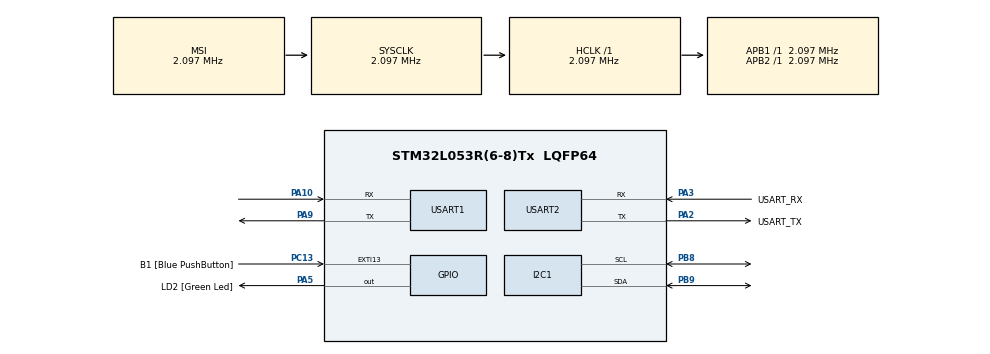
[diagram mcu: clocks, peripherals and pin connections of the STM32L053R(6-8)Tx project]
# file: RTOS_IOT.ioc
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FREERTOS.Tasks01=defaultTask,0,128,StartDefaultTask,Default,NULL
Mcu.Family=STM32L0
Mcu.Name=STM32L053R(6-8)Tx
Mcu.Package=LQFP64
PA10.Mode=IrDA
PA10.Signal=USART1_RX
PA13.GPIO_Label=TMS
PA13.Signal=SYS_SWDIO
PA14.GPIO_Label=TCK
PA14.Signal=SYS_SWCLK
PA2.GPIO_Label=USART_TX
PA2.Mode=Asynchronous
PA2.Signal=USART2_TX
PA3.GPIO_Label=USART_RX
PA3.Mode=Asynchronous
PA3.Signal=USART2_RX
PA5.GPIO_Label=LD2 [Green Led]
PA5.Signal=GPIO_Output
PA9.Mode=IrDA
PA9.Signal=USART1_TX
PB8.Mode=I2C
PB8.Signal=I2C1_SCL
PB9.Mode=I2C
PB9.Signal=I2C1_SDA
PC13.GPIO_Label=B1 [Blue PushButton]
PC13.GPIO_ModeDefaultEXTI=GPIO_MODE_IT_FALLING
PC13.Signal=GPXTI13
PC14-OSC32_IN.Signal=RCC_OSC32_IN
PC15-OSC32_OUT.Signal=RCC_OSC32_OUT
PH0-OSC_IN.Signal=RCC_OSC_IN
PH1-OSC_OUT.Signal=RCC_OSC_OUT
ProjectManager.HeapSize=0x200
ProjectManager.StackSize=0x400
ProjectManager.TargetToolchain=SW4STM32
RCC.AHBFreq_Value=2097000
RCC.APB1Freq_Value=2097000
RCC.APB1TimFreq_Value=2097000
RCC.APB2Freq_Value=2097000
RCC.APB2TimFreq_Value=2097000
RCC.HSE_VALUE=8000000
RCC.HSI16_VALUE=16000000
RCC.HSI48_VALUE=48000000
RCC.HSI_VALUE=16000000
RCC.LSEState=RCC_LSE_ON
RCC.LSE_VALUE=32768
RCC.MSI_VALUE=2097000
RCC.SYSCLKFreq_VALUE=2097000
RCC.VCOOutputFreq_Value=48000000
USART1.VirtualMode-IrDA=VM_IRDA
USART2.VirtualMode-Asynchronous=VM_ASYNC
USART2.WordLength=WORDLENGTH_8B
VP_FREERTOS_VS_ENABLE.Mode=Enabled
VP_RTC_VS_RTC_Activate.Mode=RTC_Enabled
VP_RTC_VS_RTC_Calendar.Mode=RTC_Calendar
board=NUCLEO-L053R8

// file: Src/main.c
/**
  ******************************************************************************
  * File Name          : main.c
  * Description        : Main program body
  ******************************************************************************
  * This notice applies to any and all portions of this file
  * that are not between comment pairs USER CODE BEGIN and
  * USER CODE END. Other portions of this file, whether
  * inserted by the user or by software development tools
  * are owned by their respective copyright owners.
  *
  * Copyright (c) 2017 STMicroelectronics International N.V.
  * All rights reserved.
  *
  * Redistribution and use in source and binary forms, with or without
  * modification, are permitted, provided that the following conditions are met:
  *
  * 1. Redistribution of source code must retain the above copyright notice,
  *    this list of conditions and the following disclaimer.
  * 2. Redistributions in binary form must reproduce the above copyright notice,
  *    this list of conditions and the following disclaimer in the documentation
  *    and/or other materials provided with the distribution.
  * 3. Neither the name of STMicroelectronics nor the names of other
  *    contributors to this software may be used to endorse or promote products
  *    derived from this software without specific written permission.
  * 4. This software, including modifications and/or derivative works of this
  *    software, must execute solely and exclusively on microcontroller or
  *    microprocessor devices manufactured by or for STMicroelectronics.
  * 5. Redistribution and use of this software other than as permitted under
  *    this license is void and will automatically terminate your rights under
  *    this license.
  *
  * THIS SOFTWARE IS PROVIDED BY STMICROELECTRONICS AND CONTRIBUTORS "AS IS"
  * AND ANY EXPRESS, IMPLIED OR STATUTORY WARRANTIES, INCLUDING, BUT NOT
  * LIMITED TO, THE IMPLIED WARRANTIES OF MERCHANTABILITY, FITNESS FOR A
  * PARTICULAR PURPOSE AND NON-INFRINGEMENT OF THIRD PARTY INTELLECTUAL PROPERTY
  * RIGHTS ARE DISCLAIMED TO THE FULLEST EXTENT PERMITTED BY LAW. IN NO EVENT
  * SHALL STMICROELECTRONICS OR CONTRIBUTORS BE LIABLE FOR ANY DIRECT, INDIRECT,
  * INCIDENTAL, SPECIAL, EXEMPLARY, OR CONSEQUENTIAL DAMAGES (INCLUDING, BUT NOT
  * LIMITED TO, PROCUREMENT OF SUBSTITUTE GOODS OR SERVICES; LOSS OF USE, DATA,
  * OR PROFITS; OR BUSINESS INTERRUPTION) HOWEVER CAUSED AND ON ANY THEORY OF
  * LIABILITY, WHETHER IN CONTRACT, STRICT LIABILITY, OR TORT (INCLUDING
  * NEGLIGENCE OR OTHERWISE) ARISING IN ANY WAY OUT OF THE USE OF THIS SOFTWARE,
  * EVEN IF ADVISED OF THE POSSIBILITY OF SUCH DAMAGE.
  *
  ******************************************************************************
  */
#include "main.h"
#include "stm32l0xx_hal.h"
#include "cmsis_os.h"

/* USER CODE BEGIN Includes */
#include "global.h"
#include "sensor.h"
#include "transmit.h"
#include "data.h"
#include "debug_led.h"
#include "ResetFunction.h"

/* USER CODE END Includes */

I2C_HandleTypeDef hi2c1;

RTC_HandleTypeDef hrtc;

IRDA_HandleTypeDef hirda1;
UART_HandleTypeDef huart2;

osThreadId defaultTaskHandle;

GPIO_InitTypeDef GPIO_InitStruct;

/* USER CODE BEGIN PV */
/* Private variables ---------------------------------------------------------*/
osThreadId Task1Handle;
osThreadId Task2Handle;
osThreadId Task3Handle;

/* Create the queue */
#define QUEUE_SIZE (10)

/* Define a queue with “QUEUE_SIZE” items of 2 bytes */
osMailQDef(dataWritequeue, QUEUE_SIZE, TSensorRecord);                    // Define mail queue
osMailQId  dataWritequeue;

//osMessageQDef(dataWritequeue, QUEUE_SIZE, TSensorRecord);
//osMessageQId dataWriteQueue;// = osMessageCreate(osMessageQ(dataWritequeue), NULL);

/* Define a queue with “QUEUE_SIZE” items of 2 bytes */
osMailQDef(dataReadqueue, QUEUE_SIZE, TSensorRecord);                    // Define mail queue
osMailQId  dataReadqueue;
//osMessageQDef(dataReadqueue, QUEUE_SIZE, TSensorRecord);
//osMessageQId dataReadQueue;//= osMessageCreate(osMessageQ(dataReadqueue), NULL);

/* Define a queue with “QUEUE_SIZE” items of 2 bytes */
osMessageQDef(dataEventqueue, QUEUE_SIZE, uint8_t);
osMessageQId dataEventqueue;// = osMessageCreate(osMessageQ(dataEventqueue), NULL);

osMessageQDef(ReadEventCompleteQueue, QUEUE_SIZE, uint8_t);
osMessageQId ReadEventCompleteQueue;// = osMessageCreate(osMessageQ(dataEventqueue), NULL);
/* USER CODE END PV */

void SystemClock_Config(void);
static void MX_GPIO_Init(void);
static void MX_RTC_Init(void);
static void MX_USART2_UART_Init(void);
static void MX_USART1_IRDA_Init(void);
static void MX_I2C1_Init(void);
void StartDefaultTask(void const * argument);

/* USER CODE BEGIN PFP */
/* Private function prototypes -----------------------------------------------*/
void DBTask(void const * argument);

/* USER CODE END PFP */

int main(void)
{

  /* MCU Configuration----------------------------------------------------------*/

  /* Reset of all peripherals, Initializes the Flash interface and the Systick. */
  HAL_Init();

  /* Configure the system clock */
  SystemClock_Config();

  /* Initialize all configured peripherals */
  MX_GPIO_Init();
  MX_RTC_Init();
  MX_USART2_UART_Init();
  MX_USART1_IRDA_Init();
  MX_I2C1_Init();

  /* Configure Event interrupt*/
  NVIC_EnableIRQ(EXTI4_15_IRQn);
  NVIC_SetPriority(EXTI4_15_IRQn,0);

  /* USER CODE BEGIN 2 */
  //osMessageQId dataWriteQueue = osMessageCreate(osMessageQ(dataWritequeue), NULL);
  //osMessageQId dataReadQueue = osMessageCreate(osMessageQ(dataReadqueue), NULL);
  dataWritequeue = osMailCreate(osMailQ(dataWritequeue), NULL);
  dataReadqueue = osMailCreate(osMailQ(dataReadqueue), NULL);
  dataEventqueue = osMessageCreate(osMessageQ(dataEventqueue), NULL);
  ReadEventCompleteQueue = osMessageCreate(osMessageQ(ReadEventCompleteQueue), NULL);

  //perform clear all
//  osMessagePut(dataEventqueue, eDBAction_ClearAll, osWaitForever);

  /* USER CODE END 2 */

  /* Create the thread(s) */
  /* definition and creation of defaultTask */
  //osThreadDef(defaultTask, StartDefaultTask, osPriorityNormal, 0, 128);
  //defaultTaskHandle = osThreadCreate(osThread(defaultTask), NULL);

  /* USER CODE BEGIN RTOS_THREADS */
  /* add threads, ... */
  HAL_UART_Transmit(&huart2,(uint8_t *)"HELLO WORLD",sizeof("HELLO WORLD"),200);

  GPIO_InitStruct.Pin = LD2_Pin;
  GPIO_InitStruct.Mode = GPIO_MODE_OUTPUT_PP;
  GPIO_InitStruct.Pull = GPIO_NOPULL;
  GPIO_InitStruct.Speed = GPIO_SPEED_FREQ_LOW;

  HeartBeat_LED_Init(LD2_GPIO_Port, &GPIO_InitStruct);

//  osThreadDef(Task1, SensorTask, osPriorityRealtime, 0, 128);
  osThreadDef(Task1, SensorTask, osPriorityAboveNormal, 0, 128);
  Task1Handle = osThreadCreate(osThread(Task1), NULL);
  osThreadDef(Task2, DBTask, osPriorityNormal, 0, 128);
  Task2Handle = osThreadCreate(osThread(Task2), NULL);
  osThreadDef(Task3, TransmitTask, osPriorityNormal, 0, (128*2));
  Task3Handle = osThreadCreate(osThread(Task3), NULL);

  ResetTaskInit();

  /* USER CODE END RTOS_THREADS */

  /* Start scheduler */
  osKernelStart();

  /* We should never get here as control is now taken by the scheduler */

  /* Infinite loop */
  while (1)
  {

  }

}

/** System Clock Configuration
*/
void SystemClock_Config(void)
{

  RCC_OscInitTypeDef RCC_OscInitStruct;
  RCC_ClkInitTypeDef RCC_ClkInitStruct;
  RCC_PeriphCLKInitTypeDef PeriphClkInit;

    /**Configure the main internal regulator output voltage
    */
  __HAL_PWR_VOLTAGESCALING_CONFIG(PWR_REGULATOR_VOLTAGE_SCALE1);

    /**Initializes the CPU, AHB and APB busses clocks
    */
  RCC_OscInitStruct.OscillatorType = RCC_OSCILLATORTYPE_LSI|RCC_OSCILLATORTYPE_MSI;
  RCC_OscInitStruct.LSIState = RCC_LSI_ON;
  RCC_OscInitStruct.MSIState = RCC_MSI_ON;
  RCC_OscInitStruct.MSICalibrationValue = 0;
  RCC_OscInitStruct.MSIClockRange = RCC_MSIRANGE_5;
  RCC_OscInitStruct.PLL.PLLState = RCC_PLL_NONE;
  if (HAL_RCC_OscConfig(&RCC_OscInitStruct) != HAL_OK)
  {
    _Error_Handler(__FILE__, __LINE__);
  }

    /**Initializes the CPU, AHB and APB busses clocks
    */
  RCC_ClkInitStruct.ClockType = RCC_CLOCKTYPE_HCLK|RCC_CLOCKTYPE_SYSCLK
                              |RCC_CLOCKTYPE_PCLK1|RCC_CLOCKTYPE_PCLK2;
  RCC_ClkInitStruct.SYSCLKSource = RCC_SYSCLKSOURCE_MSI;
  RCC_ClkInitStruct.AHBCLKDivider = RCC_SYSCLK_DIV1;
  RCC_ClkInitStruct.APB1CLKDivider = RCC_HCLK_DIV1;
  RCC_ClkInitStruct.APB2CLKDivider = RCC_HCLK_DIV1;

  if (HAL_RCC_ClockConfig(&RCC_ClkInitStruct, FLASH_LATENCY_0) != HAL_OK)
  {
    _Error_Handler(__FILE__, __LINE__);
  }

  PeriphClkInit.PeriphClockSelection = RCC_PERIPHCLK_USART1|RCC_PERIPHCLK_USART2
                              |RCC_PERIPHCLK_I2C1|RCC_PERIPHCLK_RTC;
  PeriphClkInit.Usart1ClockSelection = RCC_USART1CLKSOURCE_PCLK2;
  PeriphClkInit.Usart2ClockSelection = RCC_USART2CLKSOURCE_PCLK1;
  PeriphClkInit.I2c1ClockSelection = RCC_I2C1CLKSOURCE_PCLK1;
  PeriphClkInit.RTCClockSelection = RCC_RTCCLKSOURCE_LSI;
  if (HAL_RCCEx_PeriphCLKConfig(&PeriphClkInit) != HAL_OK)
  {
    _Error_Handler(__FILE__, __LINE__);
  }

    /**Configure the Systick interrupt time
    */
  HAL_SYSTICK_Config(HAL_RCC_GetHCLKFreq()/1000);

    /**Configure the Systick
    */
  HAL_SYSTICK_CLKSourceConfig(SYSTICK_CLKSOURCE_HCLK);

  /* SysTick_IRQn interrupt configuration */
  HAL_NVIC_SetPriority(SysTick_IRQn, 3, 0);
}

/* I2C1 init function */
static void MX_I2C1_Init(void)
{

  hi2c1.Instance = I2C1;
  hi2c1.Init.Timing = 0x00000708;
  hi2c1.Init.OwnAddress1 = 0;
  hi2c1.Init.AddressingMode = I2C_ADDRESSINGMODE_7BIT;
  hi2c1.Init.DualAddressMode = I2C_DUALADDRESS_DISABLE;
  hi2c1.Init.OwnAddress2 = 0;
  hi2c1.Init.OwnAddress2Masks = I2C_OA2_NOMASK;
  hi2c1.Init.GeneralCallMode = I2C_GENERALCALL_DISABLE;
  hi2c1.Init.NoStretchMode = I2C_NOSTRETCH_DISABLE;
  if (HAL_I2C_Init(&hi2c1) != HAL_OK)
  {
    _Error_Handler(__FILE__, __LINE__);
  }

    /**Configure Analogue filter
    */
  if (HAL_I2CEx_ConfigAnalogFilter(&hi2c1, I2C_ANALOGFILTER_ENABLE) != HAL_OK)
  {
    _Error_Handler(__FILE__, __LINE__);
  }

    /**Configure Digital filter
    */
  if (HAL_I2CEx_ConfigDigitalFilter(&hi2c1, 0) != HAL_OK)
  {
    _Error_Handler(__FILE__, __LINE__);
  }

}

/* RTC init function */
static void MX_RTC_Init(void)
{

  RTC_TimeTypeDef sTime;
  RTC_DateTypeDef sDate;

    /**Initialize RTC Only
    */
  hrtc.Instance = RTC;
  hrtc.Init.HourFormat = RTC_HOURFORMAT_24;
  hrtc.Init.AsynchPrediv = 127;
  hrtc.Init.SynchPrediv = 255;
  hrtc.Init.OutPut = RTC_OUTPUT_DISABLE;
  hrtc.Init.OutPutRemap = RTC_OUTPUT_REMAP_NONE;
  hrtc.Init.OutPutPolarity = RTC_OUTPUT_POLARITY_HIGH;
  hrtc.Init.OutPutType = RTC_OUTPUT_TYPE_OPENDRAIN;
  if (HAL_RTC_Init(&hrtc) != HAL_OK)
  {
    _Error_Handler(__FILE__, __LINE__);
  }

    /**Initialize RTC and set the Time and Date
    */
  if(HAL_RTCEx_BKUPRead(&hrtc, RTC_BKP_DR0) != 0x32F2){
  sTime.Hours = 0x0;
  sTime.Minutes = 0x0;
  sTime.Seconds = 0x0;
  sTime.DayLightSaving = RTC_DAYLIGHTSAVING_NONE;
  sTime.StoreOperation = RTC_STOREOPERATION_RESET;
  if (HAL_RTC_SetTime(&hrtc, &sTime, RTC_FORMAT_BCD) != HAL_OK)
  {
    _Error_Handler(__FILE__, __LINE__);
  }

  sDate.WeekDay = RTC_WEEKDAY_MONDAY;
  sDate.Month = RTC_MONTH_JANUARY;
  sDate.Date = 0x1;
  sDate.Year = 0x0;

  if (HAL_RTC_SetDate(&hrtc, &sDate, RTC_FORMAT_BCD) != HAL_OK)
  {
    _Error_Handler(__FILE__, __LINE__);
  }

    HAL_RTCEx_BKUPWrite(&hrtc,RTC_BKP_DR0,0x32F2);
  }

}

/* USART1 init function */
static void MX_USART1_IRDA_Init(void)
{

  hirda1.Instance = USART1;
  hirda1.Init.BaudRate = 115200;
  hirda1.Init.WordLength = IRDA_WORDLENGTH_7B;
  hirda1.Init.Parity = IRDA_PARITY_NONE;
  hirda1.Init.Mode = IRDA_MODE_TX_RX;
  hirda1.Init.Prescaler = 10;
  hirda1.Init.PowerMode = IRDA_POWERMODE_NORMAL;
  if (HAL_IRDA_Init(&hirda1) != HAL_OK)
  {
    _Error_Handler(__FILE__, __LINE__);
  }

}

/* USART2 init function */
static void MX_USART2_UART_Init(void)
{

  huart2.Instance = USART2;
  huart2.Init.BaudRate = 115200;
  huart2.Init.WordLength = UART_WORDLENGTH_8B;
  huart2.Init.StopBits = UART_STOPBITS_1;
  huart2.Init.Parity = UART_PARITY_NONE;
  huart2.Init.Mode = UART_MODE_TX_RX;
  huart2.Init.HwFlowCtl = UART_HWCONTROL_NONE;
  huart2.Init.OverSampling = UART_OVERSAMPLING_16;
  huart2.Init.OneBitSampling = UART_ONE_BIT_SAMPLE_DISABLE;
  huart2.AdvancedInit.AdvFeatureInit = UART_ADVFEATURE_NO_INIT;
  if (HAL_UART_Init(&huart2) != HAL_OK)
  {
    _Error_Handler(__FILE__, __LINE__);
  }

}

/** Configure pins as
        * Analog
        * Input
        * Output
        * EVENT_OUT
        * EXTI
*/
static void MX_GPIO_Init(void)
{

  GPIO_InitTypeDef GPIO_InitStruct;

  /* GPIO Ports Clock Enable */
  __HAL_RCC_GPIOC_CLK_ENABLE();
  __HAL_RCC_GPIOH_CLK_ENABLE();
  __HAL_RCC_GPIOA_CLK_ENABLE();
  __HAL_RCC_GPIOB_CLK_ENABLE();

  /*Configure GPIO pin Output Level */
  HAL_GPIO_WritePin(LD2_GPIO_Port, LD2_Pin, GPIO_PIN_RESET);

  /*Configure GPIO pin : B1_Pin */
  GPIO_InitStruct.Pin = B1_Pin;
  GPIO_InitStruct.Mode = GPIO_MODE_IT_RISING_FALLING;
  GPIO_InitStruct.Pull = GPIO_NOPULL;
  HAL_GPIO_Init(B1_GPIO_Port, &GPIO_InitStruct);

  /*Configure GPIO pin : LD2_Pin */
  GPIO_InitStruct.Pin = LD2_Pin;
  GPIO_InitStruct.Mode = GPIO_MODE_OUTPUT_PP;
  GPIO_InitStruct.Pull = GPIO_NOPULL;
  GPIO_InitStruct.Speed = GPIO_SPEED_FREQ_LOW;
  HAL_GPIO_Init(LD2_GPIO_Port, &GPIO_InitStruct);

}

/* USER CODE BEGIN 4 */
void Delay(void)
{
	volatile uint32_t delay=0x100000;
	while(delay--);
}

/* USER CODE END 4 */

/* StartDefaultTask function */
void StartDefaultTask(void const * argument)
{

  /* USER CODE BEGIN 5 */
  /* Infinite loop */
  for(;;)
  {
	HAL_GPIO_WritePin(LD2_GPIO_Port, LD2_Pin, GPIO_PIN_RESET);
	HAL_GPIO_WritePin(LD2_GPIO_Port, LD2_Pin, GPIO_PIN_SET);
  }
  /* USER CODE END 5 */
}

void _Error_Handler(char * file, int line)
{
  while(1)
  {
  }
}

/************************ (C) COPYRIGHT STMicroelectronics *****END OF FILE****/
